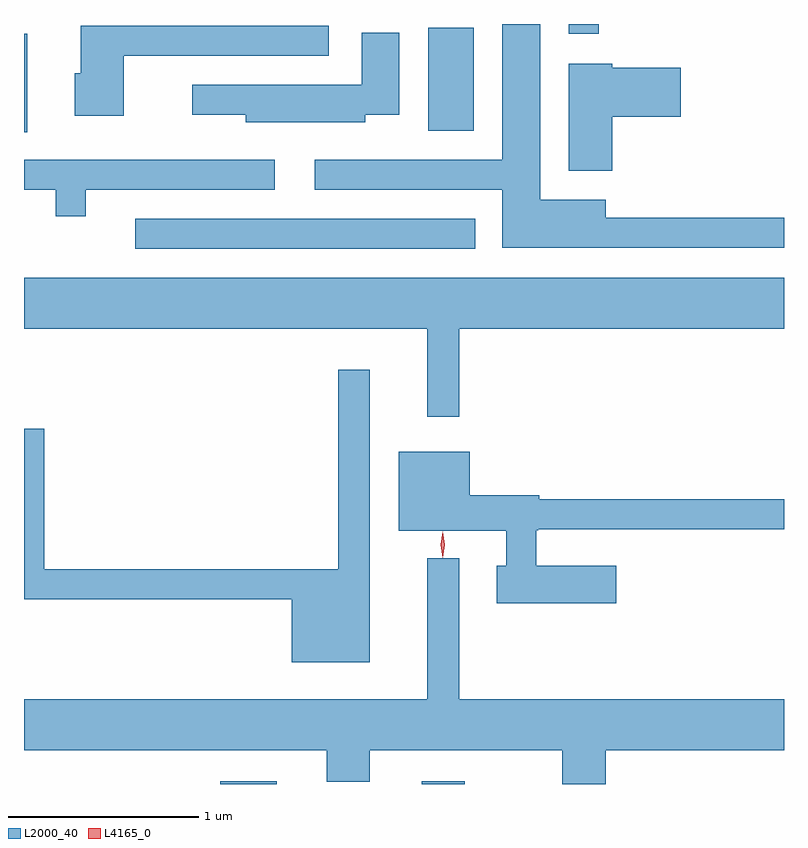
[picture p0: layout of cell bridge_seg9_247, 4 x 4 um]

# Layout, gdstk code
import gdstk
lib = gdstk.Library(unit=1e-6, precision=1e-09)
def R(c, l, rs):  # rectangles x0, y0, x1, y1
    for r in rs: c.add(gdstk.rectangle(r[:2], r[2:], *l))
def P(c, l, *ps):  # polygons
    for p in ps: c.add(gdstk.Polygon(p, *l))
L2000_40 = (2000, 40)
L4165_0 = (4165, 0)

bridge_seg9_247 = lib.new_cell('bridge_seg9_247')
R(bridge_seg9_247, L2000_40, [(1284.961,1945.019,1285.259,1945.034), (1286.021,1945.019,1286.249,1945.034), (1284.513,1947.836,1286.303,1947.994), (1283.928,1948.448,1283.944,1948.969), (1286.056,1948.456,1286.294,1948.999), (1286.796,1948.968,1286.954,1949.019)])
P(bridge_seg9_247, L2000_40, [(1287.928,1947.999),(1286.989,1947.999),(1286.989,1948.094),(1286.644,1948.094),(1286.644,1949.019),(1286.446,1949.019),(1286.446,1948.304),(1285.458,1948.304),(1285.458,1948.146),(1286.446,1948.146),(1286.446,1947.841),(1287.928,1947.841)],
  [(1284.454,1948.851),(1285.533,1948.851),(1285.533,1949.009),(1284.226,1949.009),(1284.226,1948.759),(1284.196,1948.759),(1284.196,1948.536),(1284.454,1948.536)],
  [(1285.724,1948.541),(1285.904,1948.541),(1285.904,1948.974),(1285.706,1948.974),(1285.706,1948.699),(1284.813,1948.699),(1284.813,1948.541),(1285.096,1948.541),(1285.096,1948.501),(1285.724,1948.501)],
  [(1287.024,1948.531),(1287.384,1948.531),(1287.384,1948.789),(1287.024,1948.789),(1287.024,1948.809),(1286.796,1948.809),(1286.796,1948.246),(1287.024,1948.246)],
  [(1284.254,1948.146),(1285.248,1948.146),(1285.248,1948.304),(1283.928,1948.304),(1283.928,1948.146),(1284.096,1948.146),(1284.096,1948.008),(1284.254,1948.008)],
  [(1286.219,1947.416),(1287.928,1947.416),(1287.928,1947.684),(1283.928,1947.684),(1283.928,1947.416),(1286.051,1947.416),(1286.051,1946.953),(1286.219,1946.953)],
  [(1285.749,1947.198),(1285.581,1947.198),(1285.581,1946.149),(1284.034,1946.149),(1284.034,1946.889),(1283.928,1946.889),(1283.928,1945.991),(1285.336,1945.991),(1285.336,1945.661),(1285.749,1945.661)],
  [(1287.044,1946.169),(1286.624,1946.169),(1286.624,1946.355),(1286.635,1946.355),(1286.635,1946.361),(1287.928,1946.361),(1287.928,1946.519),(1286.639,1946.519),(1286.639,1946.539),(1286.274,1946.539),(1286.274,1946.769),(1285.901,1946.769),(1285.901,1946.351),(1286.466,1946.351),(1286.466,1946.169),(1286.416,1946.169),(1286.416,1945.971),(1287.044,1945.971)],
  [(1286.989,1945.196),(1287.928,1945.196),(1287.928,1945.464),(1286.219,1945.464),(1286.219,1946.208),(1286.051,1946.208),(1286.051,1945.464),(1283.928,1945.464),(1283.928,1945.196),(1285.521,1945.196),(1285.521,1945.031),(1285.749,1945.031),(1285.749,1945.196),(1286.761,1945.196),(1286.761,1945.019),(1286.989,1945.019)])
P(bridge_seg9_247, L4165_0, [(1286.132,1946.209),(1286.132,1946.21),(1286.122,1946.278),(1286.131,1946.346),(1286.131,1946.346),(1286.132,1946.346),(1286.142,1946.278),(1286.133,1946.21)],
  [(1286.132,1946.213),(1286.132,1946.213),(1286.122,1946.277),(1286.131,1946.34),(1286.131,1946.341),(1286.132,1946.34),(1286.142,1946.277),(1286.133,1946.213)])

lib.write_gds('bridge_seg9_247.gds')
